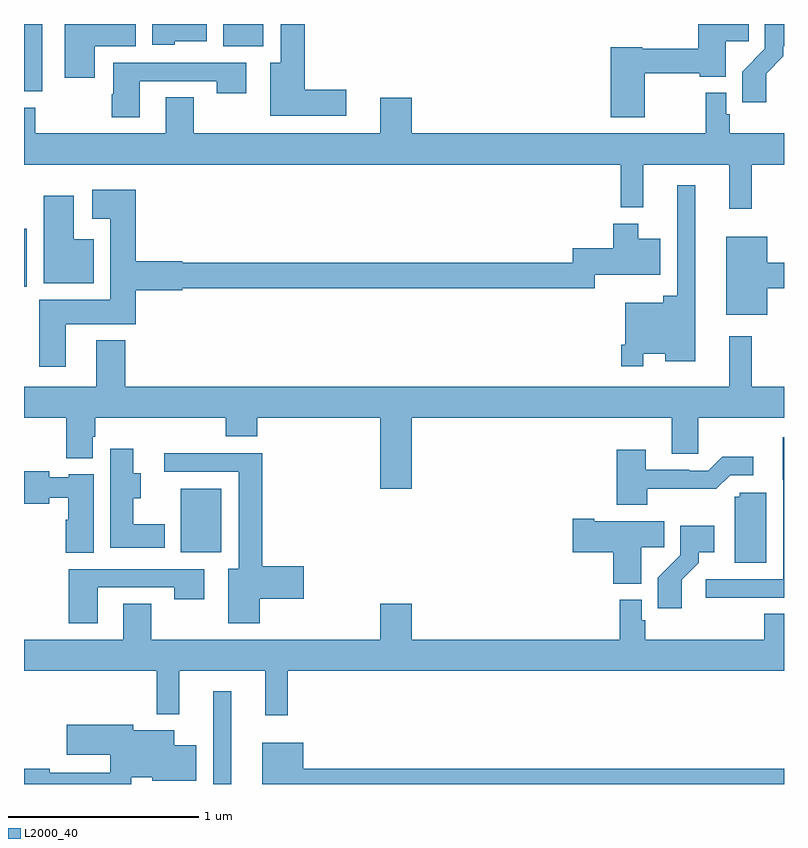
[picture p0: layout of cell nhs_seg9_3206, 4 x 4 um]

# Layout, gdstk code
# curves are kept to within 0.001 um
import gdstk
lib = gdstk.Library(unit=1e-6, precision=1e-09)
def R(c, l, rs):  # rectangles x0, y0, x1, y1
    for r in rs: c.add(gdstk.rectangle(r[:2], r[2:], *l))
def P(c, l, *ps):  # polygons
    for p in ps: c.add(gdstk.Polygon(p, *l))
L2000_40 = (2000, 40)

nhs_seg9_3206 = lib.new_cell('nhs_seg9_3206')
R(nhs_seg9_3206, L2000_40, [(295.995,1186.5,296.092,1186.987), (295.826,1187.72,296.038,1188.055), (295,1189.118,295.015,1189.423), (295,1190.145,295.095,1190.5), (296.048,1190.384,296.26,1190.5)])
P(nhs_seg9_3206, L2000_40, [(298.266,1190.241),(298.556,1190.241),(298.556,1190.222),(298.693,1190.222),(298.693,1190.41),(298.814,1190.41),(298.814,1190.5),(298.549,1190.5),(298.549,1190.369),(298.254,1190.369),(298.254,1190.377),(298.088,1190.377),(298.088,1190.01),(298.266,1190.01)],
  [(295.794,1190.408),(295.963,1190.408),(295.963,1190.5),(295.676,1190.5),(295.676,1190.39),(295.794,1190.39)],
  [(298.906,1190.239),(298.996,1190.329),(298.996,1190.384),(299,1190.384),(299,1190.5),(298.899,1190.5),(298.899,1190.369),(298.78,1190.25),(298.78,1190.088),(298.906,1190.088)],
  [(296.695,1190.153),(296.477,1190.153),(296.477,1190.5),(296.351,1190.5),(296.351,1190.296),(296.297,1190.296),(296.297,1190.018),(296.695,1190.018)],
  [(295.372,1190.384),(295.588,1190.384),(295.588,1190.5),(295.214,1190.5),(295.214,1190.217),(295.372,1190.217)],
  [(295.609,1190.199),(296.014,1190.199),(296.014,1190.136),(296.17,1190.136),(296.17,1190.295),(295.469,1190.295),(295.469,1190.129),(295.462,1190.129),(295.462,1190.01),(295.609,1190.01)],
  [(298.829,1189.76),(299,1189.76),(299,1189.924),(298.715,1189.924),(298.715,1190.025),(298.695,1190.025),(298.695,1190.137),(298.587,1190.137),(298.587,1189.924),(297.04,1189.924),(297.04,1190.113),(296.876,1190.113),(296.876,1189.924),(295.893,1189.924),(295.893,1190.114),(295.745,1190.114),(295.745,1189.924),(295.059,1189.924),(295.059,1190.06),(295,1190.06),(295,1189.76),(298.141,1189.76),(298.141,1189.535),(298.259,1189.535),(298.259,1189.76),(298.712,1189.76),(298.712,1189.527),(298.829,1189.527)],
  [(298.26,1188.764),(298.376,1188.764),(298.376,1188.725),(298.534,1188.725),(298.534,1189.651),(298.437,1189.651),(298.437,1189.069),(298.364,1189.069),(298.364,1189.033),(298.164,1189.033),(298.164,1188.811),(298.144,1188.811),(298.144,1188.699),(298.26,1188.699)],
  [(295.219,1188.92),(295.589,1188.92),(295.589,1189.1),(295.833,1189.1),(295.833,1189.108),(298.005,1189.108),(298.005,1189.181),(298.348,1189.181),(298.348,1189.369),(298.234,1189.369),(298.234,1189.45),(298.1,1189.45),(298.1,1189.321),(297.889,1189.321),(297.889,1189.244),(295.833,1189.244),(295.833,1189.252),(295.589,1189.252),(295.589,1189.627),(295.359,1189.627),(295.359,1189.475),(295.454,1189.475),(295.454,1189.048),(295.079,1189.048),(295.079,1188.696),(295.219,1188.696)],
  [(295.366,1189.366),(295.261,1189.366),(295.261,1189.597),(295.103,1189.597),(295.103,1189.136),(295.366,1189.136)],
  [(298.912,1189.108),(299,1189.108),(299,1189.244),(298.912,1189.244),(298.912,1189.381),(298.697,1189.381),(298.697,1188.971),(298.912,1188.971)],
  [(297.04,1188.428),(298.409,1188.428),(298.409,1188.238),(298.548,1188.238),(298.548,1188.428),(299,1188.428),(299,1188.592),(298.829,1188.592),(298.829,1188.856),(298.712,1188.856),(298.712,1188.592),(295.532,1188.592),(295.532,1188.835),(295.379,1188.835),(295.379,1188.592),(295,1188.592),(295,1188.428),(295.223,1188.428),(295.223,1188.215),(295.363,1188.215),(295.363,1188.327),(295.376,1188.327),(295.376,1188.428),(296.063,1188.428),(296.063,1188.329),(296.228,1188.329),(296.228,1188.428),(296.876,1188.428),(296.876,1188.054),(297.04,1188.054)],
  [(298.811,1187.481),(299,1187.481),(299,1188.325),(298.994,1188.325),(298.994,1188.102),(298.995,1188.102),(298.995,1187.577),(298.587,1187.577),(298.587,1187.479),(298.811,1187.479)],
  [(295.741,1187.866),(295.576,1187.866),(295.576,1188.005),(295.615,1188.005),(295.615,1188.135),(295.576,1188.135),(295.576,1188.265),(295.454,1188.265),(295.454,1187.744),(295.741,1187.744)],
  [(298.281,1188.054),(298.643,1188.053),(298.716,1188.126),(298.837,1188.126),(298.837,1188.223),(298.675,1188.223),(298.602,1188.15),(298.502,1188.15),(298.502,1188.153),(298.273,1188.153),(298.273,1188.259),(298.121,1188.259),(298.121,1187.969),(298.281,1187.969)],
  [(296.242,1187.474),(296.473,1187.474),(296.473,1187.645),(296.255,1187.645),(296.255,1188.242),(295.737,1188.242),(295.737,1188.144),(296.129,1188.144),(296.129,1187.632),(296.075,1187.632),(296.075,1187.346),(296.242,1187.346)],
  [(295.366,1188.13),(295.236,1188.13),(295.236,1188.114),(295.132,1188.114),(295.132,1188.145),(295,1188.145),(295,1187.975),(295.132,1187.975),(295.132,1188.006),(295.232,1188.006),(295.232,1187.891),(295.22,1187.891),(295.22,1187.716),(295.366,1187.716)],
  [(298.906,1188.033),(298.767,1188.033),(298.767,1188.012),(298.742,1188.012),(298.742,1187.664),(298.906,1187.664)],
  [(298.249,1187.746),(298.37,1187.746),(298.37,1187.884),(298,1187.884),(298,1187.897),(297.888,1187.897),(297.888,1187.719),(298.1,1187.719),(298.1,1187.555),(298.249,1187.555)],
  [(298.462,1187.575),(298.552,1187.665),(298.552,1187.72),(298.633,1187.72),(298.633,1187.86),(298.455,1187.86),(298.455,1187.705),(298.336,1187.586),(298.336,1187.424),(298.462,1187.424)],
  [(295.387,1187.535),(295.792,1187.535),(295.792,1187.472),(295.948,1187.472),(295.948,1187.631),(295.235,1187.631),(295.235,1187.346),(295.387,1187.346)],
  [(296.387,1187.096),(299,1187.096),(299,1187.396),(298.895,1187.396),(298.895,1187.26),(298.271,1187.26),(298.271,1187.361),(298.251,1187.361),(298.251,1187.47),(298.135,1187.47),(298.135,1187.26),(297.04,1187.26),(297.04,1187.449),(296.876,1187.449),(296.876,1187.26),(295.671,1187.26),(295.671,1187.45),(295.523,1187.45),(295.523,1187.26),(295,1187.26),(295,1187.096),(295.699,1187.096),(295.699,1186.868),(295.817,1186.868),(295.817,1187.096),(296.27,1187.096),(296.27,1186.863),(296.387,1186.863)],
  [(295.564,1186.535),(295.674,1186.535),(295.674,1186.517),(295.906,1186.517),(295.906,1186.705),(295.792,1186.705),(295.792,1186.783),(295.576,1186.783),(295.576,1186.813),(295.224,1186.813),(295.224,1186.655),(295.454,1186.655),(295.454,1186.56),(295.136,1186.56),(295.136,1186.58),(295,1186.58),(295,1186.5),(295.564,1186.5)],
  [(299,1186.58),(296.47,1186.58),(296.47,1186.717),(296.255,1186.717),(296.255,1186.5),(299,1186.5)])

lib.write_gds('nhs_seg9_3206.gds')
